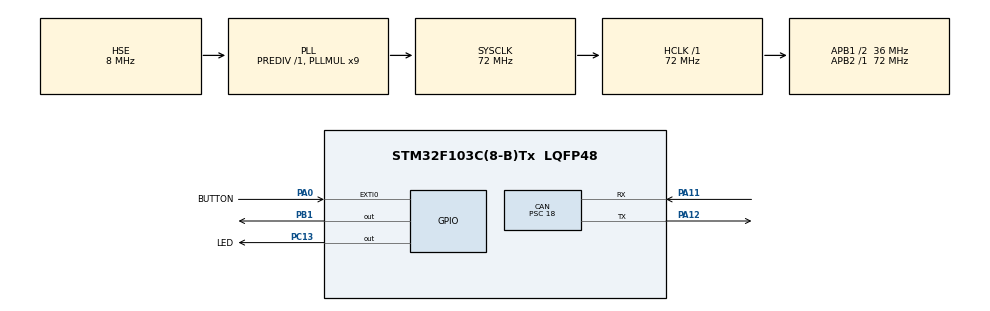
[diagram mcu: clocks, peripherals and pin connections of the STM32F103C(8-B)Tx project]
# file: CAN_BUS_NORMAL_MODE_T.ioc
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CAN.BS1=CAN_BS1_2TQ
CAN.CalculateBaudRate=500000
CAN.CalculateTimeBit=2000
CAN.CalculateTimeQuantum=500.0
CAN.Prescaler=18
Mcu.Family=STM32F1
Mcu.Name=STM32F103C(8-B)Tx
Mcu.Package=LQFP48
NVIC.EXTI0_IRQn=true\:0\:0\:false\:false\:true\:true\:true
NVIC.PriorityGroup=NVIC_PRIORITYGROUP_4
NVIC.USB_LP_CAN1_RX0_IRQn=true\:0\:0\:false\:false\:true\:true\:true
PA0-WKUP.GPIO_Label=BUTTON
PA0-WKUP.GPIO_ModeDefaultEXTI=GPIO_MODE_IT_FALLING
PA0-WKUP.GPIO_PuPd=GPIO_PULLUP
PA0-WKUP.Signal=GPXTI0
PA11.Mode=CAN_Activate
PA11.Signal=CAN_RX
PA12.Mode=CAN_Activate
PA12.Signal=CAN_TX
PA13.Mode=Serial_Wire
PA13.Signal=SYS_JTMS-SWDIO
PA14.Mode=Serial_Wire
PA14.Signal=SYS_JTCK-SWCLK
PB1.GPIO_PuPd=GPIO_PULLUP
PB1.PinState=GPIO_PIN_SET
PB1.Signal=GPIO_Output
PC13-TAMPER-RTC.GPIO_Label=LED
PC13-TAMPER-RTC.GPIO_PuPd=GPIO_PULLUP
PC13-TAMPER-RTC.PinState=GPIO_PIN_SET
PC13-TAMPER-RTC.Signal=GPIO_Output
PD0-OSC_IN.Mode=HSE-External-Oscillator
PD0-OSC_IN.Signal=RCC_OSC_IN
PD1-OSC_OUT.Mode=HSE-External-Oscillator
PD1-OSC_OUT.Signal=RCC_OSC_OUT
ProjectManager.HeapSize=0x200
ProjectManager.StackSize=0x400
ProjectManager.TargetToolchain=STM32CubeIDE
RCC.AHBFreq_Value=72000000
RCC.APB1CLKDivider=RCC_HCLK_DIV2
RCC.APB1Freq_Value=36000000
RCC.APB1TimFreq_Value=72000000
RCC.APB2Freq_Value=72000000
RCC.APB2TimFreq_Value=72000000
RCC.HCLKFreq_Value=72000000
RCC.PLLMUL=RCC_PLL_MUL9
RCC.PLLSourceVirtual=RCC_PLLSOURCE_HSE
RCC.SYSCLKFreq_VALUE=72000000
RCC.SYSCLKSource=RCC_SYSCLKSOURCE_PLLCLK
RCC.USBFreq_Value=72000000
board=custom

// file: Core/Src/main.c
/* USER CODE BEGIN Header */
/**
  ******************************************************************************
  * @file           : main.c
  * @brief          : Main program body
  ******************************************************************************
  * @attention
  *
  * Copyright (c) 2022 STMicroelectronics.
  * All rights reserved.
  *
  * This software is licensed under terms that can be found in the LICENSE file
  * in the root directory of this software component.
  * If no LICENSE file comes with this software, it is provided AS-IS.
  *
  ******************************************************************************
  */
/* USER CODE END Header */
#include "main.h"

CAN_HandleTypeDef hcan;

void SystemClock_Config(void);
static void MX_GPIO_Init(void);
static void MX_CAN_Init(void);

/* USER CODE BEGIN 0 */
CAN_TxHeaderTypeDef TxHeader;
CAN_RxHeaderTypeDef RxHeader;

uint8_t TxData[8];
uint8_t RxData[8];

uint32_t TxMailbox;

int datacheck = 0;

void HAL_GPIO_EXTI_Callback(uint16_t GPIO_Pin)
{
	if (GPIO_Pin == GPIO_PIN_0)
	{
		TxData[0] = 100; //ms delay
		TxData[1] = 10; // loop rep

		HAL_CAN_AddTxMessage(&hcan, &TxHeader, TxData, &TxMailbox);
		HAL_GPIO_TogglePin(GPIOB, GPIO_PIN_1);
	}
}

void HAL_CAN_RxFifo0MsgPendingCallback(CAN_HandleTypeDef *hcan)
{
	HAL_CAN_GetRxMessage(hcan, CAN_RX_FIFO0, &RxHeader, RxData);
	if (RxHeader.DLC == 2)
	{
		datacheck = 1;
	}
}
/* USER CODE END 0 */

int main(void)
{

  /* MCU Configuration--------------------------------------------------------*/

  /* Reset of all peripherals, Initializes the Flash interface and the Systick. */
  HAL_Init();

  /* Configure the system clock */
  SystemClock_Config();

  /* Initialize all configured peripherals */
  MX_GPIO_Init();
  MX_CAN_Init();
  /* USER CODE BEGIN 2 */

  //Khoi dong CAN BUS
  HAL_CAN_Start(&hcan);
  //Active interupt khi co du lieu den
  HAL_CAN_ActivateNotification(&hcan, CAN_IT_RX_FIFO0_MSG_PENDING);

  //Khai bao thong tin cua Node
  TxHeader.DLC = 2; //2 bytes length
  TxHeader.IDE = CAN_ID_STD;
  TxHeader.RTR = CAN_RTR_DATA;
  TxHeader.StdId = 0x446; //ID

  /* USER CODE END 2 */

  /* Infinite loop */
  /* USER CODE BEGIN WHILE */
  while (1)
  {

	  if (datacheck)
	  {
		  //blink the LED
		  for (int i = 0; i < RxData[1]; i++)
		  {
			  HAL_GPIO_TogglePin(GPIOC, GPIO_PIN_13);
			  HAL_Delay(RxData[0]);
		  }

		  datacheck = 0;
	  }
    /* USER CODE END WHILE */

  }
}

void SystemClock_Config(void)
{
  RCC_OscInitTypeDef RCC_OscInitStruct = {0};
  RCC_ClkInitTypeDef RCC_ClkInitStruct = {0};

  /** Initializes the RCC Oscillators according to the specified parameters
  * in the RCC_OscInitTypeDef structure.
  */
  RCC_OscInitStruct.OscillatorType = RCC_OSCILLATORTYPE_HSE;
  RCC_OscInitStruct.HSEState = RCC_HSE_ON;
  RCC_OscInitStruct.HSEPredivValue = RCC_HSE_PREDIV_DIV1;
  RCC_OscInitStruct.HSIState = RCC_HSI_ON;
  RCC_OscInitStruct.PLL.PLLState = RCC_PLL_ON;
  RCC_OscInitStruct.PLL.PLLSource = RCC_PLLSOURCE_HSE;
  RCC_OscInitStruct.PLL.PLLMUL = RCC_PLL_MUL9;
  if (HAL_RCC_OscConfig(&RCC_OscInitStruct) != HAL_OK)
  {
    Error_Handler();
  }
  /** Initializes the CPU, AHB and APB buses clocks
  */
  RCC_ClkInitStruct.ClockType = RCC_CLOCKTYPE_HCLK|RCC_CLOCKTYPE_SYSCLK
                              |RCC_CLOCKTYPE_PCLK1|RCC_CLOCKTYPE_PCLK2;
  RCC_ClkInitStruct.SYSCLKSource = RCC_SYSCLKSOURCE_PLLCLK;
  RCC_ClkInitStruct.AHBCLKDivider = RCC_SYSCLK_DIV1;
  RCC_ClkInitStruct.APB1CLKDivider = RCC_HCLK_DIV2;
  RCC_ClkInitStruct.APB2CLKDivider = RCC_HCLK_DIV1;

  if (HAL_RCC_ClockConfig(&RCC_ClkInitStruct, FLASH_LATENCY_2) != HAL_OK)
  {
    Error_Handler();
  }
}

static void MX_CAN_Init(void)
{

  hcan.Instance = CAN1;
  hcan.Init.Prescaler = 18;
  hcan.Init.Mode = CAN_MODE_NORMAL;
  hcan.Init.SyncJumpWidth = CAN_SJW_1TQ;
  hcan.Init.TimeSeg1 = CAN_BS1_2TQ;
  hcan.Init.TimeSeg2 = CAN_BS2_1TQ;
  hcan.Init.TimeTriggeredMode = DISABLE;
  hcan.Init.AutoBusOff = DISABLE;
  hcan.Init.AutoWakeUp = DISABLE;
  hcan.Init.AutoRetransmission = DISABLE;
  hcan.Init.ReceiveFifoLocked = DISABLE;
  hcan.Init.TransmitFifoPriority = DISABLE;
  if (HAL_CAN_Init(&hcan) != HAL_OK)
  {
    Error_Handler();
  }
  /* USER CODE BEGIN CAN_Init 2 */
  	CAN_FilterTypeDef canfilterconfig;
	canfilterconfig.FilterActivation = CAN_FILTER_ENABLE;
	canfilterconfig.FilterBank = 10; //anything between 0 to SlaveStartFilterBank
	canfilterconfig.FilterFIFOAssignment = CAN_RX_FIFO0;
	canfilterconfig.FilterIdHigh = 0x103<<5;
	canfilterconfig.FilterIdLow = 0x0000;
	canfilterconfig.FilterMaskIdHigh = 0x103<<5;
	canfilterconfig.FilterMaskIdLow = 0x0000;
	canfilterconfig.FilterMode = CAN_FILTERMODE_IDMASK;
	canfilterconfig.FilterScale = CAN_FILTERSCALE_32BIT;
	canfilterconfig.SlaveStartFilterBank = 13; // if only 1 CAN BUS, this parameter is useless

	HAL_CAN_ConfigFilter(&hcan, &canfilterconfig);

  /* USER CODE END CAN_Init 2 */

}

static void MX_GPIO_Init(void)
{
  GPIO_InitTypeDef GPIO_InitStruct = {0};

  /* GPIO Ports Clock Enable */
  __HAL_RCC_GPIOC_CLK_ENABLE();
  __HAL_RCC_GPIOD_CLK_ENABLE();
  __HAL_RCC_GPIOA_CLK_ENABLE();
  __HAL_RCC_GPIOB_CLK_ENABLE();

  /*Configure GPIO pin Output Level */
  HAL_GPIO_WritePin(LED_GPIO_Port, LED_Pin, GPIO_PIN_SET);

  /*Configure GPIO pin Output Level */
  HAL_GPIO_WritePin(GPIOB, GPIO_PIN_1, GPIO_PIN_SET);

  /*Configure GPIO pin : LED_Pin */
  GPIO_InitStruct.Pin = LED_Pin;
  GPIO_InitStruct.Mode = GPIO_MODE_OUTPUT_PP;
  GPIO_InitStruct.Pull = GPIO_PULLUP;
  GPIO_InitStruct.Speed = GPIO_SPEED_FREQ_LOW;
  HAL_GPIO_Init(LED_GPIO_Port, &GPIO_InitStruct);

  /*Configure GPIO pin : BUTTON_Pin */
  GPIO_InitStruct.Pin = BUTTON_Pin;
  GPIO_InitStruct.Mode = GPIO_MODE_IT_FALLING;
  GPIO_InitStruct.Pull = GPIO_PULLUP;
  HAL_GPIO_Init(BUTTON_GPIO_Port, &GPIO_InitStruct);

  /*Configure GPIO pin : PB1 */
  GPIO_InitStruct.Pin = GPIO_PIN_1;
  GPIO_InitStruct.Mode = GPIO_MODE_OUTPUT_PP;
  GPIO_InitStruct.Pull = GPIO_PULLUP;
  GPIO_InitStruct.Speed = GPIO_SPEED_FREQ_LOW;
  HAL_GPIO_Init(GPIOB, &GPIO_InitStruct);

  /* EXTI interrupt init*/
  HAL_NVIC_SetPriority(EXTI0_IRQn, 0, 0);
  HAL_NVIC_EnableIRQ(EXTI0_IRQn);

}

void Error_Handler(void)
{
  __disable_irq();
  while (1)
  {
  }
}
